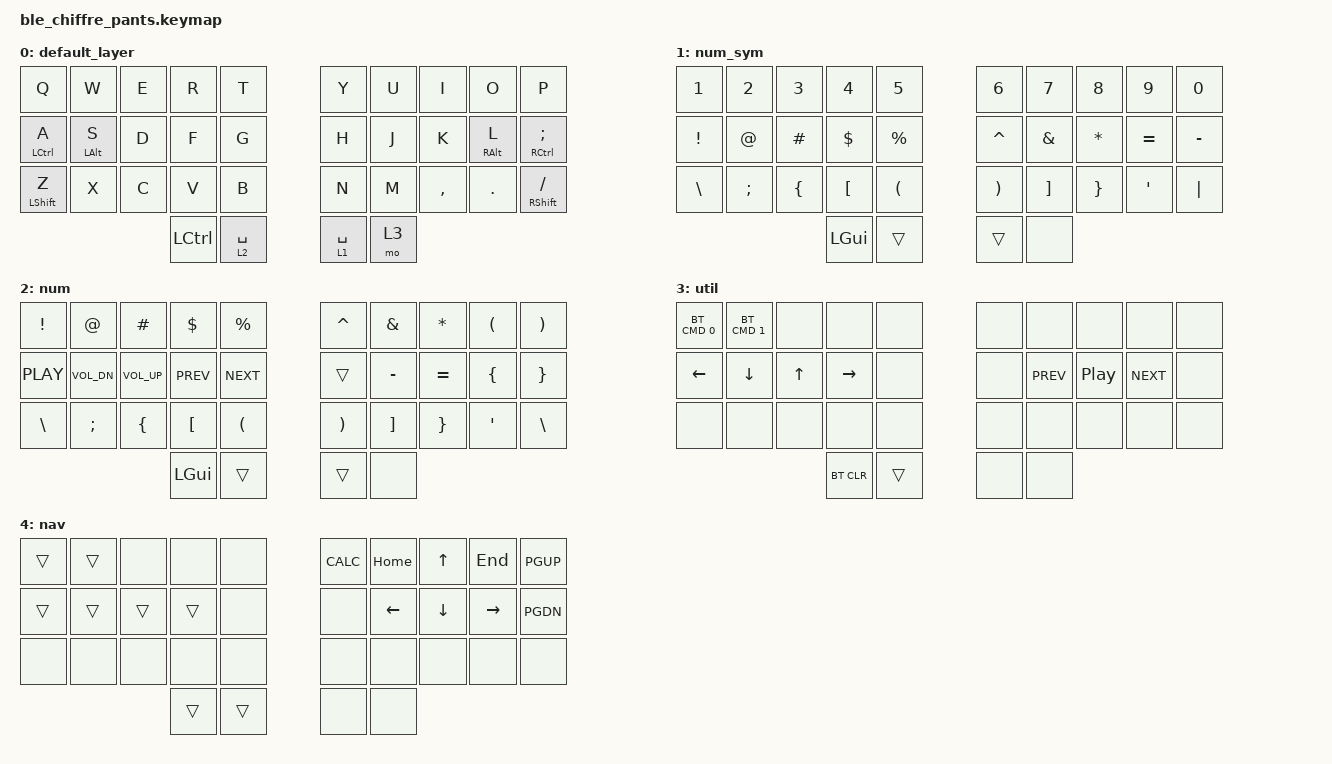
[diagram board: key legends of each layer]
/*
 * Copyright (c) 2020 The ZMK Contributors
 *
 * SPDX-License-Identifier: MIT
 * pants keymap
 */

#include <behaviors.dtsi>
#include <dt-bindings/zmk/keys.h>
#include <dt-bindings/zmk/bt.h>
#include <dt-bindings/zmk/rgb.h>

#define DEFAULT 0
#define NUM_SYM 1
#define NUM 	2
#define UTIL    3
#define NAV		4

/ {
	behaviors {
		
		bh: layer_taps 
		{
			compatible = "zmk,behavior-hold-tap";
			label = "Layer-Tap";
			#binding-cells = <2>;
			tapping_term_ms = <215>;
            flavor = "tap-preferred";
			bindings = <&mo>, <&kp>;
        };

        hm: homerow_mods0 
		{
			compatible = "zmk,behavior-hold-tap";
			label = "homerow mods";
			#binding-cells = <2>;
			tapping_term_ms = <230>;
            flavor = "tap-preferred";
			bindings = <&kp>, <&kp>;
        };
        
        hm1: homerow_mods1 
		{
			compatible = "zmk,behavior-hold-tap";
			label = "homerow mods";
			#binding-cells = <2>;
			tapping_term_ms = <205>;
            flavor = "tap-preferred";
			bindings = <&kp>, <&kp>;
        };

        hm2: homerow_mods2 
		{
			compatible = "zmk,behavior-hold-tap";
			label = "homerow mods 2";
			#binding-cells = <2>;
			tapping_term_ms = <250>;
            flavor = "tap-preferred";
			bindings = <&kp>, <&kp>;
        };
   	 };
};

/ {
	combos {
		compatible = "zmk,combos";
		combo_esc 
		{
			timeout-ms = <30>;
			key-positions = <0 1>;
			bindings = <&kp ESC>;
		};
		combo_tab 
		{
			timeout-ms = <35>;
			key-positions = <11 12>;
			bindings = <&kp TAB>;
		};
		combo_bspc 
		{
			timeout-ms = <40>;
			key-positions = <8 9>;
			bindings = <&kp BSPC>;
		};
		combo_ent
		{
			timeout-ms = <35>;
			key-positions = <18 19>;
			bindings = <&kp RET>;
		};
		combo_slsh
		{
			timeout-ms = <35>;
			key-positions = <28 29>
			bindings = <$kp FSLH>
		}
};

/ {
    keymap 
	{
    compatible = "zmk,keymap";

    default_layer {
            bindings = <
    &kp Q &kp W &kp E &kp R &kp T &kp Y &kp U &kp I &kp O &kp P
    &hm1 LCTRL A &hm1 LALT S &kp D &kp F &kp G &kp H &kp J &kp K &hm1 RALT L &hm1 RCTRL SEMI
    &hm1 LSHIFT Z &kp X &kp C &kp V &kp B &kp N &kp M &kp COMMA &kp DOT &hm1 RSHIFT FSLH
    &kp LCTRL &bh 2 SPACE &bh 1 SPACE &mo 3 
            >;
        };

    num_sym {
            bindings = <
    &kp N1 &kp N2 &kp N3 &kp N4 &kp N5 &kp N6 &kp N7 &kp N8 &kp N9 &kp N0
    &kp EXCL &kp AT &kp POUND &kp DLLR &kp PRCNT &kp CARET &kp AMPS &kp STAR &kp EQUAL &kp MINUS
    &kp BSLH &kp SEMI &kp LBRC &kp LBKT &kp LPAR &kp RPAR &kp RBKT &kp RBRC &kp SQT &kp PIPE
    &kp LGUI &trans &trans &none
            >;
        };

    num {
            bindings = <
    &kp EXCL &kp AT &kp POUND &kp DLLR &kp PRCNT &kp CARET &kp AMPS &kp STAR &kp LPAR &kp RPAR
    &kp C_PLAY &kp C_VOL_DN &kp C_VOL_UP &kp C_PREV &kp C_NEXT &trans &kp MINUS &kp EQUAL &kp LBRC &kp RBRC
    &kp BSLH &kp SEMI &kp LBRC &kp LBKT &kp LPAR &kp RPAR &kp RBKT &kp RBRC &kp SQT &kp BSLH
    &kp LGUI &trans &trans &none
            >;
        };

    util {
            bindings = <
    &bt BT_SEL_CMD 0 &bt BT_SEL_CMD 1 &none &none &none &none &none &none &none &none
    &kp LEFT &kp DOWN &kp UP &kp RIGHT &none &none &kp C_PREV &kp C_PP &kp C_NEXT &none
    &none &none &none &none &none &none &none &none &none &none
    &bt BT_CLR &trans &none &none
            >;
        };

	nav {
            bindings = <
    &trans &trans &none &none &none &kp K_CALC &kp HOME &kp UP &kp END &kp PGUP
    &trans &trans &trans &trans &none &none &kp LEFT &kp DOWN &kp RIGHT &kp PGDN
    &none &none &none &none &none &none &none &none &none &none
    &trans &trans &none &none
            >;
        };
    };
};
